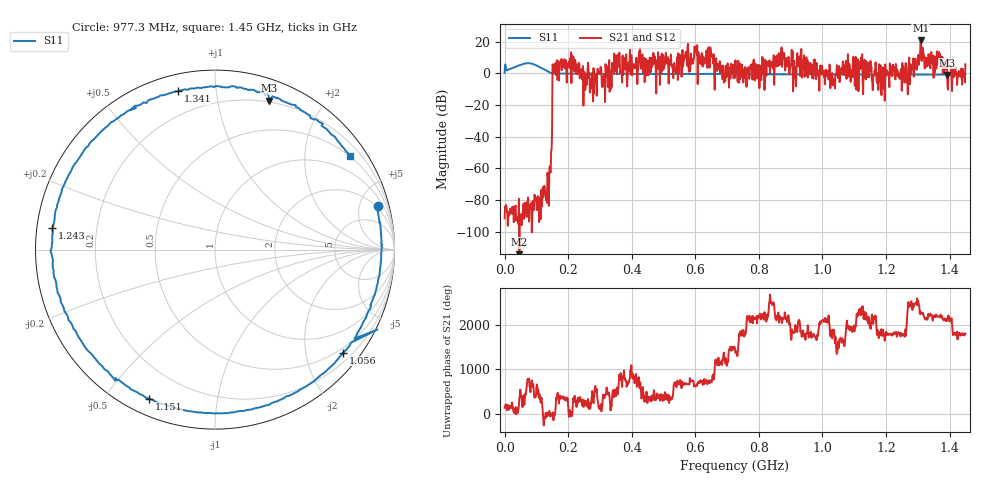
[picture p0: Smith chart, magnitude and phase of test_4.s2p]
! Created with skrf 1.11.0 (http://scikit-rf.org).
# Hz S RI R 50.0
!freq ReS11 ImS11 ReS21 ImS21 ReS12 ImS12 ReS22 ImS22
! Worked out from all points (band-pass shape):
!   1001 points, 50 kHz to 1.45 GHz, reference 50 ohm
!   highest |S21| = 20.78 dB at 1.309 GHz (marker M1); lowest = -120.0 dB at 46.45 MHz (marker M2)
!   |S21| within 3 dB of the highest: 576.3997 MHz to 577.2404 MHz (840.7 kHz wide, 0.146 % of centre); 606.1216 MHz to 606.1309 MHz (9.347 kHz wide, 0.00154 % of centre) (the widest 2 of 3)
!   lowest |S11| = -1.1 dB at 1.392 GHz (marker M3), VSWR 16.04, Z = 9.42 + j70.7 ohm
!   |S11| at or under -10 dB: nowhere
!   |S22| runs from - to - dB; largest |S21 - S12| = 0
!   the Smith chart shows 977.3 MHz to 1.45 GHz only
!   S11 on the Smith chart (normalised r, x): 977.3 MHz: 1.71, +7.16; 1.056 GHz: 0.39, -2.79; 1.151 GHz: 0.07, -0.65; 1.243 GHz: 0.05, +0.06; 1.341 GHz: 0.08, +0.79; 1.45 GHz: 0.50, +3.12
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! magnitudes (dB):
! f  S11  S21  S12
! 50 kHz  0.4  -91.6  -91.6
! 46.45 MHz  5.1  -120.0  -120.0
! 133.4 MHz  1.6  -81.8  -81.8
! 142.1 MHz  0.6  -58.7  -58.7
! 158.1 MHz  -0.1  4.4  4.4
! 242.2 MHz  -0.2  1.0  1.0
! 275.5 MHz  -0.3  0.3  0.3
! 484.3 MHz  -0.4  2.8  2.8
! 646.7 MHz  -0.3  16.4  16.4
! 691.7 MHz  -0.4  -3.3  -3.3
! 725 MHz  -0.5  -2.7  -2.7
! 872.9 MHz  -0.6  4.2  4.2
! 967.2 MHz  -0.6  -2.5  -2.5
! 977.3 MHz  -0.5  4.9  4.9
! 1.056 GHz  -0.8  -1.1  -1.1
! 1.151 GHz  -0.8  7.8  7.8
! 1.209 GHz  -0.8  -3.5  -3.5
! 1.243 GHz  -0.8  -0.5  -0.5
! 1.309 GHz  -0.8  20.8  20.8
! 1.341 GHz  -0.9  10.5  10.5
! 1.392 GHz  -1.1  4.1  4.1
! 1.45 GHz  -0.8  5.7  5.7
